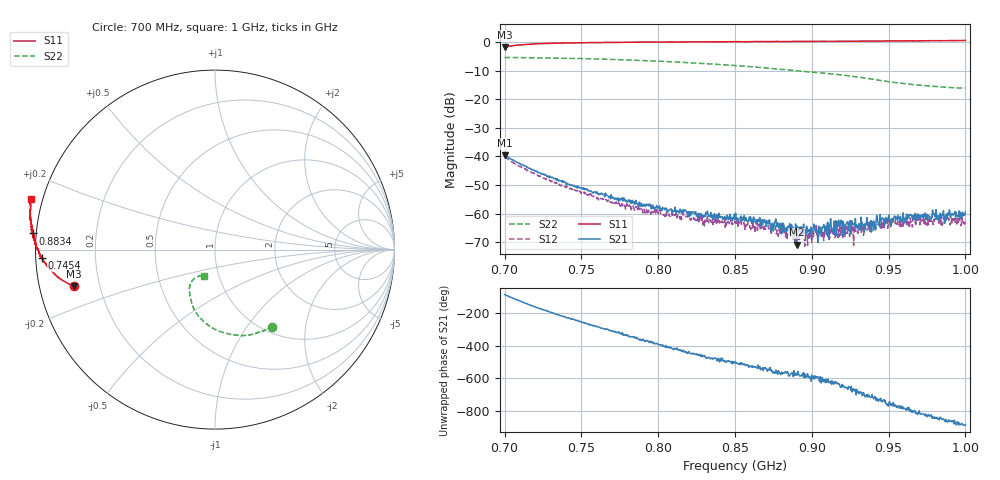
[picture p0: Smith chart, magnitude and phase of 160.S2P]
! C:\Users\rflab\Downloads\Lab5_KD_ZW\Q2\728 MHz\160.S2P
! Touchstone 1.1 file saved by VNA.EXE V1.65 (www.ke5fx.com/gpib/readme.htm)
! 11/18/2024 9:18:58 PM
!  Source: HEWLETT PACKARD,8753D,0,6.14
!  Min freq: 7.000000E+008 Hz
!  Max freq: 1.000000E+009 Hz
!  Points: 801
!  Params: S11 S21 S12 S22
# GHZ S MA R 50
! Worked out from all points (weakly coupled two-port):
!   801 points, 700 MHz to 1 GHz, reference 50 ohm
!   highest |S21| = -39.60 dB at 700 MHz (marker M1); lowest = -70.9 dB at 890.1 MHz (marker M2)
!   lowest |S11| = -1.8 dB at 700 MHz (marker M3), VSWR 9.69, Z = 5.24 - j6.33 ohm
!   |S11| at or under -10 dB: nowhere
!   |S22| runs from -16.1 to -5.4 dB; largest |S21 - S12| = 0.0034
!   S11 on the Smith chart (normalised r, x): 700 MHz: 0.10, -0.13; 745.4 MHz: 0.02, -0.02; 883.4 MHz: -0.01, +0.04; 1 GHz: -0.03, +0.14
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0.7  0.8129 -165.4  0.01047 -85.3  0.00991 -103.1  0.5355 -53.5
0.745375  0.9656 -177.2  0.003018 122.0  0.002614 101.5  0.5165 -66.5
0.75025  0.9735 -177.8  0.00276 105.8  0.002376 83.6  0.5122 -68.1
0.791125  0.9947 179.0  0.00144 -13.0  0.001086 -26.5  0.4712 -82.0
0.800125  0.9964 178.8  0.001271 -32.1  0.000992 -41.7  0.4611 -85.3
0.830125  1.001 177.4  0.000924 -100.6  0.000609 -124.1  0.4188 -95.8
0.85  1.013 176.3  0.000784 -139.6  0.000742 -171.3  0.3879 -102.6
0.861625  1.014 175.9  0.000702 -163.6  0.000718 -169.3  0.3676 -106.6
0.87175  1.014 175.5  0.000661 174.8  0.000552 159.6  0.3495 -109.9
0.883375  1.02 174.9  0.000569 150.3  0.000531 123.0  0.3267 -113.4
0.890125  1.023 174.4  0.000286 148.8  0.000356 120.0  0.3142 -115.0
0.8935  1.024 174.3  0.000581 142.2  0.000525 128.3  0.3081 -115.8
0.896875  1.023 174.3  0.000587 136.6  0.000436 127.3  0.303 -116.6
0.90025  1.024 174.1  0.000466 117.2  0.000458 104.3  0.2971 -117.4
0.910375  1.025 173.8  0.000705 115.8  0.000402 88.6  0.2816 -120.0
0.91975  1.03 173.1  0.00064 82.0  0.000474 73.5  0.2651 -122.6
0.92575  1.031 172.8  0.00063 70.2  0.000454 36.4  0.2527 -124.0
0.93025  1.031 172.3  0.00061 28.8  0.000569 12.3  0.2432 -125.0
0.950125  1.044 170.8  0.000939 -41.4  0.000881 -57.4  0.2024 -125.7
0.96325  1.05 169.7  0.000876 -59.4  0.000616 -83.2  0.183 -123.5
0.98725  1.054 166.6  0.000758 -133.9  0.000786 -142.5  0.1616 -117.5
1  1.063 164.6  0.001071 -165.5  0.000778 160.7  0.1572 -112.1
